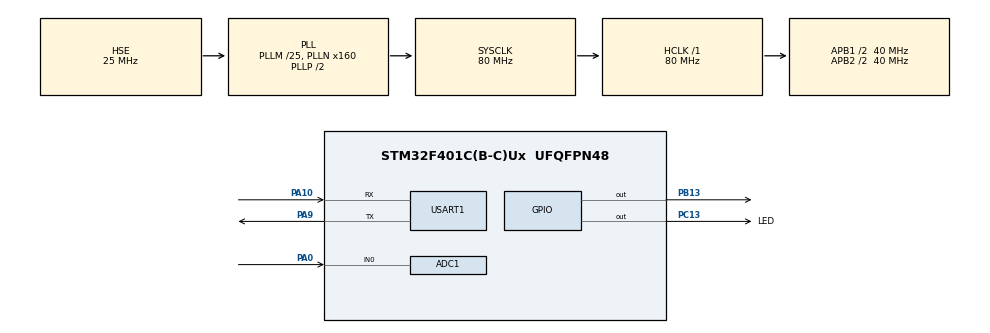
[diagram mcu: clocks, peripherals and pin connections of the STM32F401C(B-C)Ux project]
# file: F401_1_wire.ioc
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ADC1.Channel-1\#ChannelRegularConversion=ADC_CHANNEL_0
ADC1.NbrOfConversion=1
ADC1.NbrOfConversionFlag=1
ADC1.Rank-1\#ChannelRegularConversion=1
ADC1.SamplingTime-1\#ChannelRegularConversion=ADC_SAMPLETIME_3CYCLES
ADC1.ScanConvMode=DISABLE
ADC1.master=1
Dma.ADC1.0.Direction=DMA_PERIPH_TO_MEMORY
Dma.ADC1.0.FIFOMode=DMA_FIFOMODE_DISABLE
Dma.ADC1.0.Instance=DMA2_Stream0
Dma.ADC1.0.MemDataAlignment=DMA_MDATAALIGN_HALFWORD
Dma.ADC1.0.MemInc=DMA_MINC_ENABLE
Dma.ADC1.0.Mode=DMA_NORMAL
Dma.ADC1.0.PeriphDataAlignment=DMA_PDATAALIGN_HALFWORD
Dma.ADC1.0.PeriphInc=DMA_PINC_DISABLE
Dma.ADC1.0.Priority=DMA_PRIORITY_LOW
Dma.Request0=ADC1
Mcu.Family=STM32F4
Mcu.Name=STM32F401C(B-C)Ux
Mcu.Package=UFQFPN48
NVIC.DMA2_Stream0_IRQn=true\:0\:0\:false\:false\:true\:false\:true
NVIC.PriorityGroup=NVIC_PRIORITYGROUP_4
PA0-WKUP.Signal=ADCx_IN0
PA10.Mode=Asynchronous
PA10.Signal=USART1_RX
PA13.Mode=Serial_Wire
PA13.Signal=SYS_JTMS-SWDIO
PA14.Mode=Serial_Wire
PA14.Signal=SYS_JTCK-SWCLK
PA9.Mode=Asynchronous
PA9.Signal=USART1_TX
PB13.Signal=GPIO_Output
PC13-ANTI_TAMP.GPIO_Label=LED
PC13-ANTI_TAMP.Signal=GPIO_Output
PH0\ -\ OSC_IN.Mode=HSE-External-Oscillator
PH0\ -\ OSC_IN.Signal=RCC_OSC_IN
PH1\ -\ OSC_OUT.Mode=HSE-External-Oscillator
PH1\ -\ OSC_OUT.Signal=RCC_OSC_OUT
ProjectManager.HeapSize=0x200
ProjectManager.StackSize=0x400
ProjectManager.TargetToolchain=MDK-ARM V5.27
RCC.48MHZClocksFreq_Value=40000000
RCC.AHBFreq_Value=80000000
RCC.APB1CLKDivider=RCC_HCLK_DIV2
RCC.APB1Freq_Value=40000000
RCC.APB1TimFreq_Value=80000000
RCC.APB2CLKDivider=RCC_HCLK_DIV2
RCC.APB2Freq_Value=40000000
RCC.APB2TimFreq_Value=80000000
RCC.CortexFreq_Value=80000000
RCC.HCLKFreq_Value=80000000
RCC.HSE_VALUE=25000000
RCC.HSI_VALUE=16000000
RCC.LSE_VALUE=32768
RCC.PLLM=25
RCC.PLLN=160
RCC.PLLSourceVirtual=RCC_PLLSOURCE_HSE
RCC.SYSCLKFreq_VALUE=80000000
RCC.SYSCLKSource=RCC_SYSCLKSOURCE_PLLCLK
RCC.VCOOutputFreq_Value=160000000
SH.ADCx_IN0.0=ADC1_IN0,IN0
USART1.VirtualMode=VM_ASYNC
board=custom

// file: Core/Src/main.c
/* USER CODE BEGIN Header */
/**
  ******************************************************************************
  * @file           : main.c
  * @brief          : Main program body
  ******************************************************************************
  * @attention
  *
  * <h2><center>&copy; Copyright (c) 2023 STMicroelectronics.
  * All rights reserved.</center></h2>
  *
  * This software component is licensed by ST under BSD 3-Clause license,
  * the "License"; You may not use this file except in compliance with the
  * License. You may obtain a copy of the License at:
  *                        opensource.org/licenses/BSD-3-Clause
  *
  ******************************************************************************
  */
/* USER CODE END Header */
#include "main.h"
#include "adc.h"
#include "dma.h"
#include "usart.h"
#include "gpio.h"

/* USER CODE BEGIN Includes */
#include "delay.h"
#include "ds18b20.h"
#include <string.h>
#include <stdio.h>
/* USER CODE END Includes */

/* USER CODE BEGIN PV */
char uart_buffer[50]; //АСТТЕП uart
/* USER CODE END PV */

void SystemClock_Config(void);

int main(void)
{
  /* USER CODE BEGIN 1 */
	uint8_t status;
	uint8_t dt[8];
	uint16_t raw_temper;
	float temper;
	char c;
  /* USER CODE END 1 */

  /* MCU Configuration--------------------------------------------------------*/

  /* Reset of all peripherals, Initializes the Flash interface and the Systick. */
  HAL_Init();

  /* Configure the system clock */
  SystemClock_Config();

  /* Initialize all configured peripherals */
  MX_GPIO_Init();
  MX_DMA_Init();
  MX_USART1_UART_Init();
  MX_ADC1_Init();
  /* USER CODE BEGIN 2 */
	LED_ON;
	sprintf (uart_buffer, "%u\r\n", HAL_RCC_GetPCLK1Freq());
	UART1_SendString (uart_buffer);
  /* USER CODE END 2 */

  /* Infinite loop */
  /* USER CODE BEGIN WHILE */
  while (1)
  {
		LED_ON;
		ds18b20_MeasureTemperCmd(SKIP_ROM, 0);
		delay_ms (1000);

		ds18b20_ReadStratcpad(SKIP_ROM, dt, 0);
		sprintf(uart_buffer,"STRATHPAD: %02X %02X %02X %02X %02X %02X %02X %02X; ", dt[0], dt[1], dt[2], dt[3], dt[4], dt[5], dt[6], dt[7]);
		UART1_SendString (uart_buffer);

		raw_temper = ((uint16_t)dt[1]<<8)|dt[0];
		if(ds18b20_GetSign(raw_temper))
			c='-';
		else
			c='+';
		temper = ds18b20_Convert(raw_temper);
		sprintf(uart_buffer,"Raw t: 0x%04X; t: %c%.2f\r\n", raw_temper, c, temper);
		UART1_SendString (uart_buffer);

		LED_OFF;
		delay_ms (1000);
    /* USER CODE END WHILE */

  }
}

void SystemClock_Config(void)
{
  RCC_OscInitTypeDef RCC_OscInitStruct = {0};
  RCC_ClkInitTypeDef RCC_ClkInitStruct = {0};

  /** Configure the main internal regulator output voltage
  */
  __HAL_RCC_PWR_CLK_ENABLE();
  __HAL_PWR_VOLTAGESCALING_CONFIG(PWR_REGULATOR_VOLTAGE_SCALE2);
  /** Initializes the RCC Oscillators according to the specified parameters
  * in the RCC_OscInitTypeDef structure.
  */
  RCC_OscInitStruct.OscillatorType = RCC_OSCILLATORTYPE_HSE;
  RCC_OscInitStruct.HSEState = RCC_HSE_ON;
  RCC_OscInitStruct.PLL.PLLState = RCC_PLL_ON;
  RCC_OscInitStruct.PLL.PLLSource = RCC_PLLSOURCE_HSE;
  RCC_OscInitStruct.PLL.PLLM = 25;
  RCC_OscInitStruct.PLL.PLLN = 160;
  RCC_OscInitStruct.PLL.PLLP = RCC_PLLP_DIV2;
  RCC_OscInitStruct.PLL.PLLQ = 4;
  if (HAL_RCC_OscConfig(&RCC_OscInitStruct) != HAL_OK)
  {
    Error_Handler();
  }
  /** Initializes the CPU, AHB and APB buses clocks
  */
  RCC_ClkInitStruct.ClockType = RCC_CLOCKTYPE_HCLK|RCC_CLOCKTYPE_SYSCLK
                              |RCC_CLOCKTYPE_PCLK1|RCC_CLOCKTYPE_PCLK2;
  RCC_ClkInitStruct.SYSCLKSource = RCC_SYSCLKSOURCE_PLLCLK;
  RCC_ClkInitStruct.AHBCLKDivider = RCC_SYSCLK_DIV1;
  RCC_ClkInitStruct.APB1CLKDivider = RCC_HCLK_DIV2;
  RCC_ClkInitStruct.APB2CLKDivider = RCC_HCLK_DIV2;

  if (HAL_RCC_ClockConfig(&RCC_ClkInitStruct, FLASH_LATENCY_2) != HAL_OK)
  {
    Error_Handler();
  }
}

void Error_Handler(void)
{
  __disable_irq();
  while (1)
  {
  }
}

/************************ (C) COPYRIGHT STMicroelectronics *****END OF FILE****/
